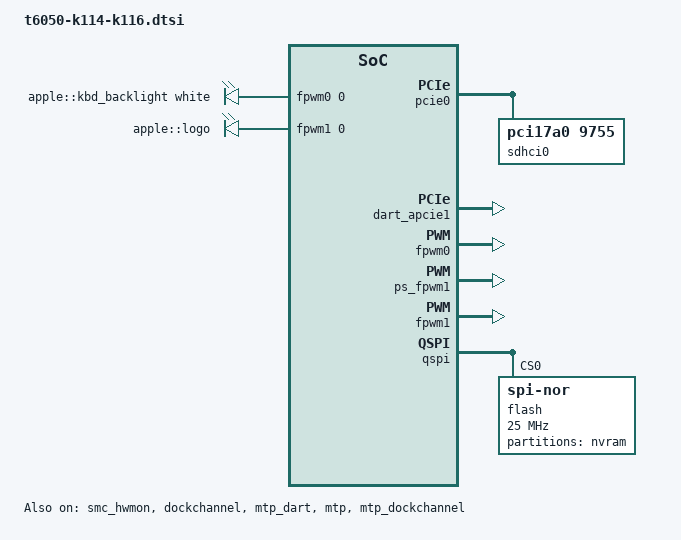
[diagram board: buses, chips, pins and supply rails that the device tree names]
// SPDX-License-Identifier: GPL-2.0+ OR MIT
/*
 * MacBook Pro (14-inch and 16-inch PROLED XDR, M5 Pro and M5 Max, 2026)
 *
 * Shared by K114c, K114s, K116c and K116s. These are the J714/J716 MacBook Pros
 * with a tandem OLED panel that takes touch input, and a rear Apple logo that is
 * lit by its own light. Everything here comes from the boards' Apple device tree
 * (ADT) as shipped with macOS 27.2. None of it has been tested on the hardware yet.
 *
 * Against J716c the ADT differs in:
 *  - the panel: no I2C backlight driver (i2c7 disp-bklt) and no dp855 TCON; an
 *    "ixora" TCON and a display NAND on spi4 instead. The OLED needs no separate
 *    backlight controller, so the panel only ever runs through the display
 *    coprocessor here, as the boot framebuffer for now.
 *  - the MTP transport: a "kiwi" interface (the touchscreen) next to the trackpad.
 *  - the FPWM channels: pwm1 (fpwm,s5l8920x at 0x305044000) drives the rear logo
 *    ("bklb-backlight", 25 kHz), and pwm2 (0x305048000, "mesa-backlight", 100 Hz)
 *    exists only on these boards.
 *
 * The M5 Pro boards (K114s, K116s) use the same die and, in the static ADT, the
 * same CPU list as the M5 Max ones; the boot loader drops the cores a part does
 * not have from this tree using the ADT the Mac boots with.
 *
 * Copyright The Asahi Linux Contributors
 */

/dts-v1/;

#include <dt-bindings/leds/common.h>

#include "t6050-max.dtsi"

/ {
	chassis-type = "laptop";

	aliases {
		serial0 = &dockchannel;
		/* The boot loader fills the N1's factory addresses through these */
		wifi0 = &n1_alpha;
		bluetooth0 = &n1_beta;
	};

	chosen {
		#address-cells = <2>;
		#size-cells = <2>;
		ranges;

		framebuffer0: framebuffer@0 {
			compatible = "apple,simple-framebuffer", "simple-framebuffer";
			reg = <0 0 0 0>; /* To be filled by the loader */
			/* Format properties will be added by the loader */
			/* Scanned out by the internal DCP, handed off or not. */
			display = <&dcp>;
			status = "disabled";
		};
	};

	led-controller {
		compatible = "pwm-leds";

		/* ADT /arm-io/pwm0/kbd-backlight: default-hz 25000 */
		led-0 {
			pwms = <&fpwm0 0 40000>;
			label = "apple::kbd_backlight";
			function = LED_FUNCTION_KBD_BACKLIGHT;
			color = <LED_COLOR_ID_WHITE>;
			max-brightness = <255>;
		};

		/*
		 * The rear Apple logo, ADT /arm-io/pwm1/bklb-backlight: default-hz 25000.
		 * Keep whatever state the boot loader left it in. The ADT's brightness
		 * mapping (nits-to-pwm-percentage, calibrated per device through syscfg
		 * CGBl) is policy for user space, and its use-enable-pulse is not
		 * handled yet.
		 */
		led-1 {
			pwms = <&fpwm1 0 40000>;
			label = "apple::logo";
			max-brightness = <255>;
			default-state = "keep";
		};
	};
};

/*
 * ATC3 and the PD controller bus nub-spmi-a2: not described for these boards. The
 * USB-C ports ATC1 and ATC2 are in t6050-k114-k116-usb.dtsi.
 */
&nub_spmi_a2 {
	status = "disabled";
};

&atc3_phy_mbox {
	status = "disabled";
};

&atc3_phy {
	status = "disabled";
};

&usb_drd3 {
	status = "disabled";
};

&usb_drd3_dart_0 {
	status = "disabled";
};

&usb_drd3_dart_1 {
	status = "disabled";
};

&i2c1 {
	status = "disabled";
};

&i2c2 {
	status = "disabled";
};

/*
 * As on J716c, where reading pin 112 takes an SError, only the pins a node
 * names are exposed: 80 and 81, PCIe ports 0 and 1's PERST#; 134 and 139, the jack
 * codec's interrupt and reset; 138, the Touch ID sensor's data-ready line
 * (t6050-touchid.dtsi). A board that names more pins replaces the list.
 */
&pinctrl_ap {
	gpio-reserved-ranges = <0 80>, <82 52>, <135 3>, <140 81>;
};

/*
 * PCIe port 0: the N1 (Wi-Fi and Bluetooth), the same on all four boards and
 * laid out as on J716c: the boot loader trains the link and keeps power,
 * clocks, the PHY and PERST; Linux owns the routing, MSI and the DART. The
 * port stays disabled until the loader trains it. From the boards' ADT:
 * apcie0 gives port 0's registers and IRQ 1523, pci-bridge0's PERST# is GPIO
 * 80, and the N1's three functions are on DART streams 1-3.
 *
 * The board file defines, before including this file, the N1's personalized
 * firmware (T6050_K_N1_FIRMWARE) and its ADT /chosen board-id
 * (T6050_K_BOARD_ID). The N1's platform ID is board-id << 16 | chip 0x6050.
 * aura's T6050 hand-off wants the host's iommu-map to mark the ports as it
 * found them.
 *
 * PCIe port 1: the SD card reader (ADT apcie0/pci-bridge1/pcie-sdreader, a
 * GL9755), the same on all four boards' ADTs and laid out as on J714s. The
 * boot loader leaves the port down, so the kernel trains it. From the ADTs:
 *   port1, phy1, intr2axi1: apcie0 reg[22], reg[24], reg[25] (port 0's are
 *     reg[16], reg[18], reg[19]), behind /arm-io's ranges (+0x200000000)
 *   phy-shared: apcie0 reg[3], the shared PHY's state, which the train reads;
 *     the boot loader leaves the PHY up with port 0
 *   IRQ 1531: apcie0 interrupts[1]
 *   PERST#: pci-bridge1 function-perst, gpio0 pin 0x51 (81)
 *   power: pcie-sdreader function-sd_pwr_en, SMC pcIO (0x0, 0x190000), output
 *     3 of smc_pcio below
 *   link tunables: pci-bridge1's apcie-config-tunables, pcie-rc-tunables and
 *     pcie-rc-gen{3,4,5}-shadow-tunables, as (offset, size, mask, value)
 * The reader is behind dart-apcie1 (0x211000000, IRQ 1532; manual-availability:
 * it answers only once the root complex is up). The ADT's mapper-apcie1 names
 * no stream (the bridge requests one at run time), so stream 1 is this tree's
 * choice, below the DART's first bypass stream (16), as on J714s.
 * pci-bridge1's function-clkreq (gpio0 pin 0x4d) is not described: the
 * driver does not take CLKREQ# lines.
 */
&pcie0 {
	iommu-map = <0x100 &dart_apcie0 1 3>,
		    <0x200 &dart_apcie1 1 1>;
	bus-range = <0 4>;
	status = "okay";
	reg = <0x1c 0xb0000000 0x0 0x10000000>,
	      <0x4 0x14000000 0x0 0x4000>,
	      <0x4 0x10028000 0x0 0x8000>,
	      <0x4 0x17010000 0x0 0x4000>,
	      <0x4 0x10024000 0x0 0x4000>,
	      <0x4 0x11028000 0x0 0x8000>,
	      <0x4 0x17014000 0x0 0x4000>,
	      <0x4 0x11024000 0x0 0x4000>,
	      <0x4 0x17020000 0x0 0x4000>;
	reg-names = "config", "rc", "port0", "phy0", "intr2axi0", "port1", "phy1", "intr2axi1",
		    "phy-shared";
	interrupts = <AIC_IRQ 0 1523 IRQ_TYPE_LEVEL_HIGH>,
		     <AIC_IRQ 0 1531 IRQ_TYPE_LEVEL_HIGH>;
	interrupt-names = "port0", "port1";
	/* dart_apcie1 probes only once port 1 is up: the host must not wait for it */
	post-init-providers = <&dart_apcie1>;

	port00: pci@0,0 {
		device_type = "pci";
		reg = <0x0 0 0 0 0>;
		bus-range = <1 1>;
		apple,link-trained-by-bootloader;
		/* PERST#, driven only by the root-port reset after the N1's ROM stage */
		reset-gpios = <&pinctrl_ap 80 GPIO_ACTIVE_LOW>;
		status = "disabled";

		#address-cells = <3>;
		#size-cells = <2>;
		ranges;

		interrupt-controller;
		#interrupt-cells = <1>;
		interrupt-map-mask = <0 0 0 7>;
		interrupt-map = <0 0 0 1 &port00 0 0 0 0>,
				<0 0 0 2 &port00 0 0 0 1>,
				<0 0 0 3 &port00 0 0 0 2>,
				<0 0 0 4 &port00 0 0 0 3>;

		n1_control: control@0,0 {
			compatible = "pci106b,1900";
			reg = <0x10000 0x0 0x0 0x0 0x0>;
			firmware-name = T6050_K_N1_FIRMWARE;
			apple,centauri-platform-id = <((T6050_K_BOARD_ID << 16) | 0x6050)>;
			apple,centauri-protocol = <27>;
		};

		n1_alpha: wifi@0,1 {
			compatible = "pci106b,1902";
			reg = <0x10100 0x0 0x0 0x0 0x0>;
			local-mac-address = [00 00 00 00 00 00];
		};

		n1_beta: bluetooth@0,2 {
			compatible = "pci106b,1903";
			reg = <0x10200 0x0 0x0 0x0 0x0>;
			local-bd-address = [00 00 00 00 00 00];
		};
	};

	port01: pci@1,0 {
		device_type = "pci";
		reg = <0x800 0 0 0 0>;
		bus-range = <2 2>;
		/* Down at boot: the kernel trains it, powering the reader first */
		apple,link-trained-by-bootloader;
		/* ADT pcie-sdreader function-sd_pwr_en: SMC pcIO output 3 below */
		pwren-gpios = <&smc_pcio 3 GPIO_ACTIVE_HIGH>;
		/* PERST#: ADT pci-bridge1 function-perst, GPIO 81 */
		reset-gpios = <&pinctrl_ap 81 GPIO_ACTIVE_LOW>;
		/* ADT pci-bridge1 */
		apple,apcie-config-tunables = <0x140 4 0x1 0x1>,
			<0x144 4 0xffffff 0x253770>,
			<0x8a8 4 0x1 0x1>,
			<0x8ac 4 0x1 0x1>;
		apple,pcie-rc-tunables = <0x78 4 0x7000 0x0>,
			<0x194 4 0x2 0x2>,
			<0xb80 4 0x7f3f3f 0x7f1e1e>,
			<0xb88 4 0x7f3f3f 0x7f1e1e>;
		apple,pcie-rc-gen3-shadow-tunables = <0x154 4 0xf0f0f0f 0x5050505>,
			<0x890 4 0x3000000 0x0>,
			<0x8a8 4 0xffff0f 0x1>;
		apple,pcie-rc-gen4-shadow-tunables = <0x178 4 0xffff 0x5555>,
			<0x890 4 0x3000000 0x1000000>,
			<0x8a8 4 0xffff0f 0x1>;
		apple,pcie-rc-gen5-shadow-tunables = <0x1ac 4 0xffff 0x5555>,
			<0x890 4 0x3000000 0x2000000>,
			<0x8a8 4 0xffff0f 0x1>;

		#address-cells = <3>;
		#size-cells = <2>;
		ranges;

		interrupt-controller;
		#interrupt-cells = <1>;
		interrupt-map-mask = <0 0 0 7>;
		interrupt-map = <0 0 0 1 &port01 0 0 0 0>,
				<0 0 0 2 &port01 0 0 0 1>,
				<0 0 0 3 &port01 0 0 0 2>,
				<0 0 0 4 &port01 0 0 0 3>;

		/*
		 * The GL9755. Card detect and write protect are active high: ADT
		 * pcie-sdreader card-detect-polarity and write-protect-polarity = 1.
		 */
		sdhci0: mmc@0,0 {
			compatible = "pci17a0,9755";
			reg = <0x20000 0x0 0x0 0x0 0x0>;
			cd-inverted;
			wp-inverted;
		};
	};
};

/*
 * ADT dart-apcie1 manual-availability: pcie-apple enables it once port 1 is up. It sits in
 * the same apcie block as port 0's DART and takes the same APCIE_SYS_GP (enabled in
 * t6050-k114-k116-usb.dtsi), as the T6040's apcie1_dart at the same address does.
 */
&dart_apcie1 {
	power-domains = <&ps_apcie_sys_gp>;
	apple,manual-availability;
	status = "okay";
};

/*
 * The PMU's RTC and its alarm. The four boards' ADTs (27.2) give the PMU
 * (nub-spmi0/spmi-abbeyL1) the same registers: info-rtc (0x2002),
 * info-rtc_alarm_offset (0x2008), info-rtc_irq_mask_offset (0x200e),
 * info-rtc_alarm_ctrl (0x2000) and info-rtc_scrpad (0x2100), the registers of
 * the T6041 PMU. It raises no interrupt on this SoC: an armed alarm can only
 * wake the machine from a firmware sleep, not from s2idle.
 */
&pmu {
	pmu_rtc: rtc {
		compatible = "apple,t6050-pmu-rtc", "apple,t6041-pmu-rtc";
		nvmem-cells = <&rtc_offset>;
		nvmem-cell-names = "rtc_offset";
		wakeup-source;
	};
};

/*
 * SMC sensors, as on J714s: the shared fan, power, voltage and current keys,
 * plus every readable float T* key through apple,discover-temperatures in
 * t6050-die0.dtsi. A key this SMC lacks only drops its channel. Discovery
 * refuses to run once any temperature channel exists, so the shared
 * temperature nodes and apple,soc-die-keys go.
 *
 * The four boards' ADTs carry the same SMC node; all four are dual-fan
 * MacBook Pros like J714s and J716s. The T6050 SMC spells the fan mode keys
 * F0md/F1md and drives the fans itself (no apple,fan-manual-control). The
 * keys are read on K116s; on K114c, K114s and K116c they are assumed the same.
 */
#include "hwmon-common.dtsi"
#include "hwmon-fan-dual.dtsi"
#include "hwmon-laptop.dtsi"

&smc_hwmon {
	status = "okay";
	/delete-property/ apple,soc-die-keys;
	/delete-node/ temperature-TH0x;
	/delete-node/ temperature-TB0T;
	/delete-node/ temperature-TCHP;
	/delete-node/ temperature-TW0P;
	fan-F0Ac {
		apple,fan-mode = "F0md";
	};
	fan-F1Ac {
		apple,fan-mode = "F1md";
	};
};

/*
 * The console is on the USB debug link, which drains only while a host reads
 * it; the machine also boots with nothing attached there.
 */
&dockchannel {
	apple,tx-never-wait;
	status = "okay";
};

&fpwm0 {
	status = "okay";
};

&ps_fpwm1 {
	status = "okay";
};

&fpwm1 {
	status = "okay";
};

/*
 * ADT /arm-io/pwm2/mesa-backlight (default-hz 100), next to the Touch ID sensor
 * (spi2/mesa). What it lights and how macOS drives it is not known yet.
 */
&fpwm2 {
	status = "disabled";
};

/* The MTP and its DockChannel FIFO, which carry the keyboard and trackpad */
&mtp_mbox {
	status = "okay";
};

&mtp_dart {
	status = "okay";
};

&mtp {
	status = "okay";
	/* The helper and its HID transport share one IOMMU group, so both list streams 0 and 1. */
	iommus = <&mtp_dart 0>, <&mtp_dart 1>;
};

/*
 * The keyboard, trackpad and touchscreen: the HID transport on the MTP's
 * DockChannel FIFO, laid out as on J716c (ADT dockchannel-mtp/mtp-transport).
 */
&mtp_dockchannel {
	status = "okay";

	mtp_hid: input@8000 {
		compatible = "apple,dockchannel-hid";
		reg = <0x8000 0x1000>, <0xc000 0x1000>,
		      <0x0 0x1000>, <0x4000 0x1000>;
		reg-names = "config", "data", "rmt-config", "rmt-data";
		/*
		 * The coprocessor writes the MTP receive ring over DART stream 1. Both
		 * streams must be in one IOMMU group, so the helper lists the same two.
		 */
		iommus = <&mtp_dart 0>, <&mtp_dart 1>;
		interrupt-parent = <&mtp_dockchannel>;
		interrupts = <2 IRQ_TYPE_LEVEL_HIGH>,
			     <3 IRQ_TYPE_LEVEL_HIGH>;
		interrupt-names = "tx", "rx";
		apple,fifo-size = <0x800>;
		apple,helper-cpu = <&mtp>;
		/* ADT multi-touch function-afe-reset: pKW8('pcIO', 0x10000, 0x11c0000) */
		apple,afe-reset-gpios = <&smc_pcio 2 GPIO_ACTIVE_HIGH>;

		mtp_multitouch: multi-touch {
			apple,power-method = <2>;
		};

		keyboard {
		};

		stm {
		};

		/*
		 * The trackpad's haptic engine (ADT mtp-transport/actuator). The
		 * ADT gives it no click strength, so the firmware's is kept.
		 */
		actuator {
		};

		/*
		 * The touchscreen (ADT mtp-transport/kiwi, image-tag "fsat"). macOS
		 * sends it firmware through the same CBOR bootloader as the trackpad.
		 * Its power, reset, 24 MHz clock and display-sync lines are SoC GPIOs
		 * (nub-gpio0 0x1a, 0x19, 0x16; gpio0 0xb), with an SMC power reference
		 * (pKW4('rCIO', 0x20000)) and the TSRC clock source. How that load and
		 * the report format map onto this transport is still being worked
		 * out, so the interface stays off until it has been tested.
		 */
		kiwi: kiwi {
			status = "disabled";
		};
	};
};

/*
 * The board's pcIO outputs, from the ADT: dp2hdmi_pwr_en pKW8('pcIO', 0, 0x1a0000),
 * hdmi_pwr_en pKW8('pcIO', 0x800000, 0xf0000), and the trackpad AFE reset (2),
 * pKW8('pcIO', 0x10000, 0x11c0000), the same as on J716c; then the SD reader's
 * power (3), sd_pwr_en pKW8('pcIO', 0x0, 0x190000): ADT pcie-sdreader
 * function-sd_pwr_en.
 */
&smc_pcio {
	apple,output-commands = /bits/ 64 <0x001a000000000000 0x000f000000800000
					   0x011c000000010000 0x0019000000000000>;
};

/*
 * Port 0's power: the ADT's apcie0 power-gates are APCIE_GP (137), APCIE_SYS_GP (143) and the
 * fabric; APCIE_SYS_GP sits on APCIE_GP and FAB6_SOC. Its DART (dart-apcie0, which the N1 uses
 * through the host's iommu-map) takes APCIE_SYS_GP, as the T600x/T602x PCIe DARTs do. The loader
 * trains port 0 and keeps it powered for the hand-off, so these stay firmware-owned
 * (enabled in t6050-k114-k116-usb.dtsi, which boards include after t6050-peripherals.dtsi).
 */
&dart_apcie0 {
	power-domains = <&ps_apcie_sys_gp>;
};

/ {
	aliases {
		/* asahi-bless and the boot loader find the NVRAM partition by this alias */
		nvram = &nvram;
	};
};

/*
 * The boot NOR's NVRAM partition, the same in the live K114s, K116s and J716c ADTs and the
 * K114c and K116c 27.2 DeviceTrees: /arm-io/qspi/spinor/anvram, 0x700000, 0xc0000 bytes, 12
 * banks of 64 KiB. Only this partition is described, so the rest of the NOR has no device
 * node. Single-wire, as on the J775D: spi-nor then sends no quad-enable status write at probe.
 *
 * The partition is writable, as on the J616s, J713 and J700, so asahi-bless and aurora-bless
 * can set the next boot. spi-apple-qspi still starts read-only and, once root
 * opts in, admits only bounded, verified programs and 4 KiB erases of a known part inside it.
 */
&qspi {
	status = "okay";

	flash@0 {
		compatible = "jedec,spi-nor";
		reg = <0>;
		spi-max-frequency = <25000000>;
		spi-rx-bus-width = <1>;
		spi-tx-bus-width = <1>;

		partitions {
			compatible = "fixed-partitions";
			#address-cells = <1>;
			#size-cells = <1>;

			nvram: partition@700000 {
				label = "nvram";
				reg = <0x700000 0xc0000>;
			};
		};
	};
};
